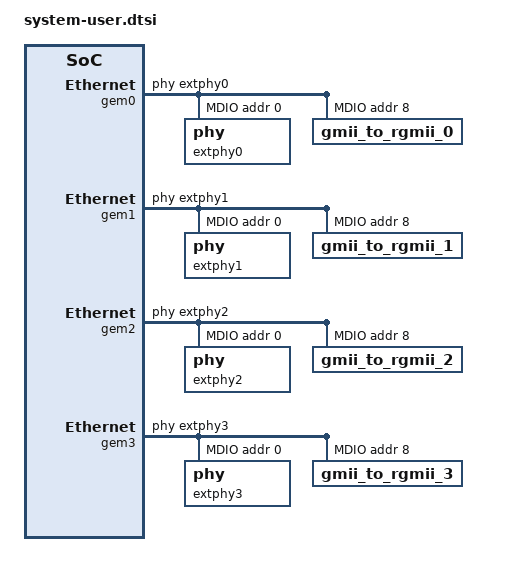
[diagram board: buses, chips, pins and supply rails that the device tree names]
/include/ "system-conf.dtsi"
/ {
};

    &gem0 {
        local-mac-address = [00 0a 35 00 01 22];
        phy-handle = <&extphy0>;
        status = "okay";
        xlnx,has-mdio = <0x1>;
        psu_ethernet_0_mdio: mdio {
                #address-cells = <1>;
                #size-cells = <0>;
                extphy0: phy@0 {
                        device_type = "ethernet-phy";
                        reg = <0>;
                };
                gmii_to_rgmii_0: gmii_to_rgmii_0@8 {
                        phy-handle = <&extphy0>;
                        reg = <8>;
                };
        };
    };  
      
    &gem1 {
        local-mac-address = [00 0a 35 00 01 23];
        phy-handle = <&extphy1>;
        status = "okay";
        xlnx,has-mdio = <0x1>;
        psu_ethernet_1_mdio: mdio {
                #address-cells = <1>;
                #size-cells = <0>;
                extphy1: phy@0 {
                        device_type = "ethernet-phy";
                        reg = <0>;
                };
                gmii_to_rgmii_1: gmii_to_rgmii_1@8 {
                        phy-handle = <&extphy1>;
                        reg = <8>;
                };
        };
    };  
      
    &gem2 {
        local-mac-address = [00 0a 35 00 01 24];
        phy-handle = <&extphy2>;
        status = "okay";
        xlnx,has-mdio = <0x1>;
        psu_ethernet_2_mdio: mdio {
                #address-cells = <1>;
                #size-cells = <0>;
                extphy2: phy@0 {
                        device_type = "ethernet-phy";
                        reg = <0>;
                };
                gmii_to_rgmii_2: gmii_to_rgmii_2@8 {
                        phy-handle = <&extphy2>;
                        reg = <8>;
                };
        };
    };  
      
    &gem3 {
        /* Delete the pinctrl properties created by the board .dtsi file for gem3 */
        /* Board files are: zcu106-reva.dtsi and zcu104-revc.dtsi */
        
        /delete-property/ pinctrl-names;
        /delete-property/ pinctrl-0;
        
        local-mac-address = [00 0a 35 00 01 25];
        phy-handle = <&extphy3>;
        status = "okay";
        xlnx,has-mdio = <0x1>;
        psu_ethernet_3_mdio: mdio {
                #address-cells = <1>;
                #size-cells = <0>;
                extphy3: phy@0 {
                        device_type = "ethernet-phy";
                        reg = <0>;
                };
                gmii_to_rgmii_3: gmii_to_rgmii_3@8 {
                        phy-handle = <&extphy3>;
                        reg = <8>;
                };
        };
    };  
      

